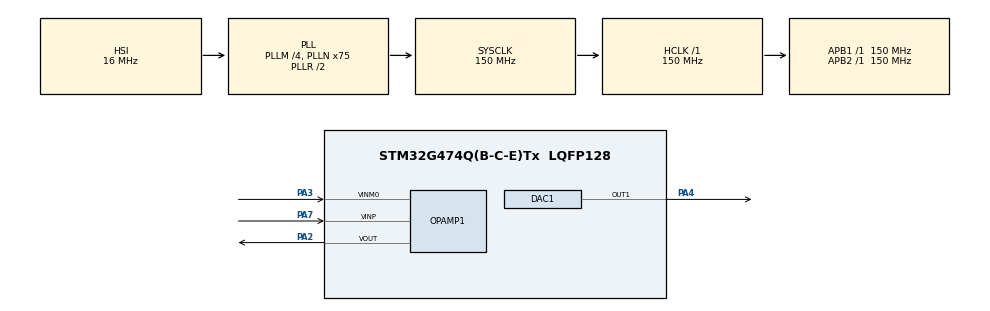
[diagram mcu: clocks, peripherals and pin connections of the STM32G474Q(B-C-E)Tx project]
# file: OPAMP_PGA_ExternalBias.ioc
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DAC1.DAC_Trigger-DAC_OUT1_ExtAndInt=DAC_TRIGGER_T2_TRGO
DAC1.DAC_Trigger_OUT1-DAC_OUT1_ExtAndInt=DAC_TRIGGER_T2_TRGO
Dma.DAC1_CH1.0.Direction=DMA_MEMORY_TO_PERIPH
Dma.DAC1_CH1.0.EventEnable=DISABLE
Dma.DAC1_CH1.0.Instance=DMA1_Channel1
Dma.DAC1_CH1.0.MemDataAlignment=DMA_MDATAALIGN_HALFWORD
Dma.DAC1_CH1.0.MemInc=DMA_MINC_ENABLE
Dma.DAC1_CH1.0.Mode=DMA_CIRCULAR
Dma.DAC1_CH1.0.PeriphDataAlignment=DMA_PDATAALIGN_WORD
Dma.DAC1_CH1.0.PeriphInc=DMA_PINC_DISABLE
Dma.DAC1_CH1.0.Polarity=HAL_DMAMUX_REQ_GEN_RISING
Dma.DAC1_CH1.0.Priority=DMA_PRIORITY_MEDIUM
Dma.DAC1_CH1.0.RequestNumber=1
Dma.DAC1_CH1.0.SignalID=NONE
Dma.DAC1_CH1.0.SyncEnable=DISABLE
Dma.DAC1_CH1.0.SyncPolarity=HAL_DMAMUX_SYNC_NO_EVENT
Dma.DAC1_CH1.0.SyncRequestNumber=1
Dma.DAC1_CH1.0.SyncSignalID=NONE
Dma.Request0=DAC1_CH1
Mcu.Family=STM32G4
Mcu.Name=STM32G474Q(B-C-E)Tx
Mcu.Package=LQFP128
NVIC.DMA1_Channel1_IRQn=true\:0\:0\:false\:false\:true\:false\:true\:true
NVIC.PriorityGroup=NVIC_PRIORITYGROUP_4
OPAMP1.PgaGain=OPAMP_PGA_GAIN_2_OR_MINUS_1
OPAMP1.PowerMode=OPAMP_POWERMODE_NORMAL
PA2.Mode=PGA Connected
PA2.Signal=OPAMP1_VOUT
PA3.Mode=PGA Connected
PA3.Signal=OPAMP1_VINM0
PA4.Signal=COMP_DAC11_group
PA7.Mode=PGA Connected
PA7.Signal=OPAMP1_VINP
ProjectManager.HeapSize=0x200
ProjectManager.StackSize=0x400
ProjectManager.TargetToolchain=EWARM V8.32
RCC.ADC12Freq_Value=150000000
RCC.ADC345Freq_Value=150000000
RCC.AHBFreq_Value=150000000
RCC.APB1Freq_Value=150000000
RCC.APB1TimFreq_Value=150000000
RCC.APB2Freq_Value=150000000
RCC.APB2TimFreq_Value=150000000
RCC.CortexFreq_Value=150000000
RCC.EXTERNAL_CLOCK_VALUE=12288000
RCC.HCLKFreq_Value=150000000
RCC.HSE_VALUE=24000000
RCC.HSI48_VALUE=48000000
RCC.HSI_VALUE=16000000
RCC.LSE_VALUE=32768
RCC.PLLM=RCC_PLLM_DIV4
RCC.PLLN=75
RCC.SYSCLKFreq_VALUE=150000000
RCC.SYSCLKSource=RCC_SYSCLKSOURCE_PLLCLK
RCC.USBFreq_Value=150000000
RCC.VCOOutputFreq_Value=300000000
SH.COMP_DAC11_group.0=DAC1_OUT1,DAC_OUT1_ExtAndInt
TIM2.AutoReloadPreload=TIM_AUTORELOAD_PRELOAD_DISABLE
TIM2.ClockDivision=TIM_CLOCKDIVISION_DIV1
TIM2.CounterMode=TIM_COUNTERMODE_UP
TIM2.Dithering=Disable
TIM2.PeriodNoDither=5000
TIM2.Prescaler=0
TIM2.TIM_MasterOutputTrigger=TIM_TRGO_UPDATE
TIM2.TIM_MasterSlaveMode=TIM_MASTERSLAVEMODE_DISABLE
VP_SYS_VS_DBSignals.Mode=DisableDeadBatterySignals
VP_TIM2_VS_ClockSourceINT.Mode=Internal
board=custom

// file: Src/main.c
/* USER CODE BEGIN Header */
/**
  ******************************************************************************
  * @file    Examples/OPAMP/OPAMP_PGA_ExternalBias/Src/main.c
  * @author  MCD Application Team
  * @brief   This example shows how to use the built-in PGA mode
  *          (OPAMP programmable gain) with positive or negative gain, and bias.
  ******************************************************************************
  * @attention
  *
  * Copyright (c) 2019 STMicroelectronics.
  * All rights reserved.
  *
  * This software is licensed under terms that can be found in the LICENSE file
  * in the root directory of this software component.
  * If no LICENSE file comes with this software, it is provided AS-IS.
  *
  ******************************************************************************
  */
/* USER CODE END Header */
#include "main.h"

/* USER CODE BEGIN Includes */
#include "stm32g474e_eval.h"
/* USER CODE END Includes */

DAC_HandleTypeDef hdac1;
DMA_HandleTypeDef hdma_dac1_ch1;

OPAMP_HandleTypeDef hopamp1;

TIM_HandleTypeDef htim2;

/* USER CODE BEGIN PV */
/* Private variables ---------------------------------------------------------*/
/* set to 1 after User push-button interrupt  */
__IO uint32_t UserButtonStatus = 0;

const uint16_t Sine12bit[32] = { 511,  611,  707,  796,  873,  937,  984, 1013,
                                1023, 1013,  984,  937,  873,  796,  707,  611,
                                 511,  412,  315,  227,  149,   86,   38,    9,
                                   0,    9,   38,   86,  149,  227,  315,  412};
/* USER CODE END PV */

void SystemClock_Config(void);
static void MX_GPIO_Init(void);
static void MX_DMA_Init(void);
static void MX_DAC1_Init(void);
static void MX_OPAMP1_Init(void);
static void MX_TIM2_Init(void);
/* USER CODE BEGIN PFP */
/* Private function prototypes -----------------------------------------------*/
/* USER CODE END PFP */

int main(void)
{

  /* MCU Configuration--------------------------------------------------------*/

  /* Reset of all peripherals, Initializes the Flash interface and the Systick. */
  HAL_Init();

  /* Configure the system clock */
  SystemClock_Config();

  /* Initialize all configured peripherals */
  MX_GPIO_Init();
  MX_DMA_Init();
  MX_DAC1_Init();
  MX_OPAMP1_Init();
  MX_TIM2_Init();
  /* USER CODE BEGIN 2 */

  /* Initialize LED on board */
  BSP_LED_Init(LED1);

  /* Initialize the User push-button.
     It is used for changing the gain */
  BSP_PB_Init(BUTTON_USER, BUTTON_MODE_EXTI);
  /* USER CODE END 2 */

  /* Infinite loop */
  /* USER CODE BEGIN WHILE */
  /*##- Enable DAC Channel and associated DMA ##############################*/
  if(HAL_OK != HAL_DAC_Start_DMA(&hdac1, DAC_CHANNEL_1,
                       (uint32_t*)Sine12bit, 32, DAC_ALIGN_12B_R))
  {
    /* Start DMA Error */
    Error_Handler();
  }
  /*##- Enable TIM peripheral counter ######################################*/
  if(HAL_OK != HAL_TIM_Base_Start(&htim2))
  {
    Error_Handler();
  }

  /*##- Start OPAMP    #####################################################*/
  /* Enable OPAMP */
  if(HAL_OK != HAL_OPAMP_Start(&hopamp1))
  {
    Error_Handler();
  }

  BSP_LED_On(LED1);

  while (1)
  {
    /* Test if user an action occurred on the User push-button */
    if (UserButtonStatus == 1)
    {
      HAL_Delay(200);
      UserButtonStatus = 0;
      /* Change the gain */
      if (hopamp1.Init.PgaGain == OPAMP_PGA_GAIN_2_OR_MINUS_1)
      {
        hopamp1.Init.PgaGain = OPAMP_PGA_GAIN_4_OR_MINUS_3;
      }
      else
      {
        hopamp1.Init.PgaGain = OPAMP_PGA_GAIN_2_OR_MINUS_1;
      }
      /* Update OPAMP config */
      /* Gain is changed on the fly */
      if(HAL_OK != HAL_OPAMP_Init(&hopamp1))
      {
        Error_Handler();
      }
    }
  }
    /* USER CODE END WHILE */

}

void SystemClock_Config(void)
{
  RCC_OscInitTypeDef RCC_OscInitStruct = {0};
  RCC_ClkInitTypeDef RCC_ClkInitStruct = {0};

  /** Configure the main internal regulator output voltage
  */
  HAL_PWREx_ControlVoltageScaling(PWR_REGULATOR_VOLTAGE_SCALE1);

  /** Initializes the RCC Oscillators according to the specified parameters
  * in the RCC_OscInitTypeDef structure.
  */
  RCC_OscInitStruct.OscillatorType = RCC_OSCILLATORTYPE_HSI;
  RCC_OscInitStruct.HSIState = RCC_HSI_ON;
  RCC_OscInitStruct.HSICalibrationValue = RCC_HSICALIBRATION_DEFAULT;
  RCC_OscInitStruct.PLL.PLLState = RCC_PLL_ON;
  RCC_OscInitStruct.PLL.PLLSource = RCC_PLLSOURCE_HSI;
  RCC_OscInitStruct.PLL.PLLM = RCC_PLLM_DIV4;
  RCC_OscInitStruct.PLL.PLLN = 75;
  RCC_OscInitStruct.PLL.PLLP = RCC_PLLP_DIV2;
  RCC_OscInitStruct.PLL.PLLQ = RCC_PLLQ_DIV2;
  RCC_OscInitStruct.PLL.PLLR = RCC_PLLR_DIV2;
  if (HAL_RCC_OscConfig(&RCC_OscInitStruct) != HAL_OK)
  {
    Error_Handler();
  }

  /** Initializes the CPU, AHB and APB buses clocks
  */
  RCC_ClkInitStruct.ClockType = RCC_CLOCKTYPE_HCLK|RCC_CLOCKTYPE_SYSCLK
                              |RCC_CLOCKTYPE_PCLK1|RCC_CLOCKTYPE_PCLK2;
  RCC_ClkInitStruct.SYSCLKSource = RCC_SYSCLKSOURCE_PLLCLK;
  RCC_ClkInitStruct.AHBCLKDivider = RCC_SYSCLK_DIV1;
  RCC_ClkInitStruct.APB1CLKDivider = RCC_HCLK_DIV1;
  RCC_ClkInitStruct.APB2CLKDivider = RCC_HCLK_DIV1;

  if (HAL_RCC_ClockConfig(&RCC_ClkInitStruct, FLASH_LATENCY_4) != HAL_OK)
  {
    Error_Handler();
  }
}

static void MX_DAC1_Init(void)
{

  DAC_ChannelConfTypeDef sConfig = {0};

  /** DAC Initialization
  */
  hdac1.Instance = DAC1;
  if (HAL_DAC_Init(&hdac1) != HAL_OK)
  {
    Error_Handler();
  }

  /** DAC channel OUT1 config
  */
  sConfig.DAC_HighFrequency = DAC_HIGH_FREQUENCY_INTERFACE_MODE_AUTOMATIC;
  sConfig.DAC_DMADoubleDataMode = DISABLE;
  sConfig.DAC_SignedFormat = DISABLE;
  sConfig.DAC_SampleAndHold = DAC_SAMPLEANDHOLD_DISABLE;
  sConfig.DAC_Trigger = DAC_TRIGGER_T2_TRGO;
  sConfig.DAC_Trigger2 = DAC_TRIGGER_NONE;
  sConfig.DAC_OutputBuffer = DAC_OUTPUTBUFFER_ENABLE;
  sConfig.DAC_ConnectOnChipPeripheral = DAC_CHIPCONNECT_BOTH;
  sConfig.DAC_UserTrimming = DAC_TRIMMING_FACTORY;
  if (HAL_DAC_ConfigChannel(&hdac1, &sConfig, DAC_CHANNEL_1) != HAL_OK)
  {
    Error_Handler();
  }

}

static void MX_OPAMP1_Init(void)
{

  hopamp1.Instance = OPAMP1;
  hopamp1.Init.PowerMode = OPAMP_POWERMODE_NORMAL;
  hopamp1.Init.Mode = OPAMP_PGA_MODE;
  hopamp1.Init.NonInvertingInput = OPAMP_NONINVERTINGINPUT_IO2;
  hopamp1.Init.InternalOutput = DISABLE;
  hopamp1.Init.TimerControlledMuxmode = OPAMP_TIMERCONTROLLEDMUXMODE_DISABLE;
  hopamp1.Init.PgaConnect = OPAMP_PGA_CONNECT_INVERTINGINPUT_IO0;
  hopamp1.Init.PgaGain = OPAMP_PGA_GAIN_2_OR_MINUS_1;
  hopamp1.Init.UserTrimming = OPAMP_TRIMMING_FACTORY;
  if (HAL_OPAMP_Init(&hopamp1) != HAL_OK)
  {
    Error_Handler();
  }

}

static void MX_TIM2_Init(void)
{

  TIM_ClockConfigTypeDef sClockSourceConfig = {0};
  TIM_MasterConfigTypeDef sMasterConfig = {0};

  htim2.Instance = TIM2;
  htim2.Init.Prescaler = 0;
  htim2.Init.CounterMode = TIM_COUNTERMODE_UP;
  htim2.Init.Period = 5000;
  htim2.Init.ClockDivision = TIM_CLOCKDIVISION_DIV1;
  htim2.Init.AutoReloadPreload = TIM_AUTORELOAD_PRELOAD_DISABLE;
  if (HAL_TIM_Base_Init(&htim2) != HAL_OK)
  {
    Error_Handler();
  }
  sClockSourceConfig.ClockSource = TIM_CLOCKSOURCE_INTERNAL;
  if (HAL_TIM_ConfigClockSource(&htim2, &sClockSourceConfig) != HAL_OK)
  {
    Error_Handler();
  }
  sMasterConfig.MasterOutputTrigger = TIM_TRGO_UPDATE;
  sMasterConfig.MasterSlaveMode = TIM_MASTERSLAVEMODE_DISABLE;
  if (HAL_TIMEx_MasterConfigSynchronization(&htim2, &sMasterConfig) != HAL_OK)
  {
    Error_Handler();
  }

}

static void MX_DMA_Init(void)
{

  /* DMA controller clock enable */
  __HAL_RCC_DMAMUX1_CLK_ENABLE();
  __HAL_RCC_DMA1_CLK_ENABLE();

  /* DMA interrupt init */
  /* DMA1_Channel1_IRQn interrupt configuration */
  HAL_NVIC_SetPriority(DMA1_Channel1_IRQn, 0, 0);
  HAL_NVIC_EnableIRQ(DMA1_Channel1_IRQn);

}

static void MX_GPIO_Init(void)
{

  /* GPIO Ports Clock Enable */
  __HAL_RCC_GPIOA_CLK_ENABLE();

}

/* USER CODE BEGIN 4 */
/**
  * @brief  EXTI line detection callbacks.
  * @param  GPIO_Pin: Specifies the pins connected EXTI line
  * @retval None
  */
void HAL_GPIO_EXTI_Callback(uint16_t GPIO_Pin)
{
  if (GPIO_Pin == USER_BUTTON_PIN)
  {
    UserButtonStatus = 1;
  }
}
/* USER CODE END 4 */

void Error_Handler(void)
{
  /* USER CODE BEGIN Error_Handler_Debug */
  /* User can add his own implementation to report the HAL error return state */
  while(1)
  {
    BSP_LED_Toggle(LED1);
    HAL_Delay(1000);
  }
  /* USER CODE END Error_Handler_Debug */
}

#ifdef  USE_FULL_ASSERT
/**
  * @brief  Reports the name of the source file and the source line number
  *         where the assert_param error has occurred.
  * @param  file: pointer to the source file name
  * @param  line: assert_param error line source number
  * @retval None
  */
void assert_failed(uint8_t *file, uint32_t line)
{
  /* USER CODE BEGIN 6 */
  /* User can add his own implementation to report the file name and line number,
    ex: printf("Wrong parameters value: file %s on line %d\r\n", file, line) */
  Error_Handler();
  /* USER CODE END 6 */
}
#endif /* USE_FULL_ASSERT */
